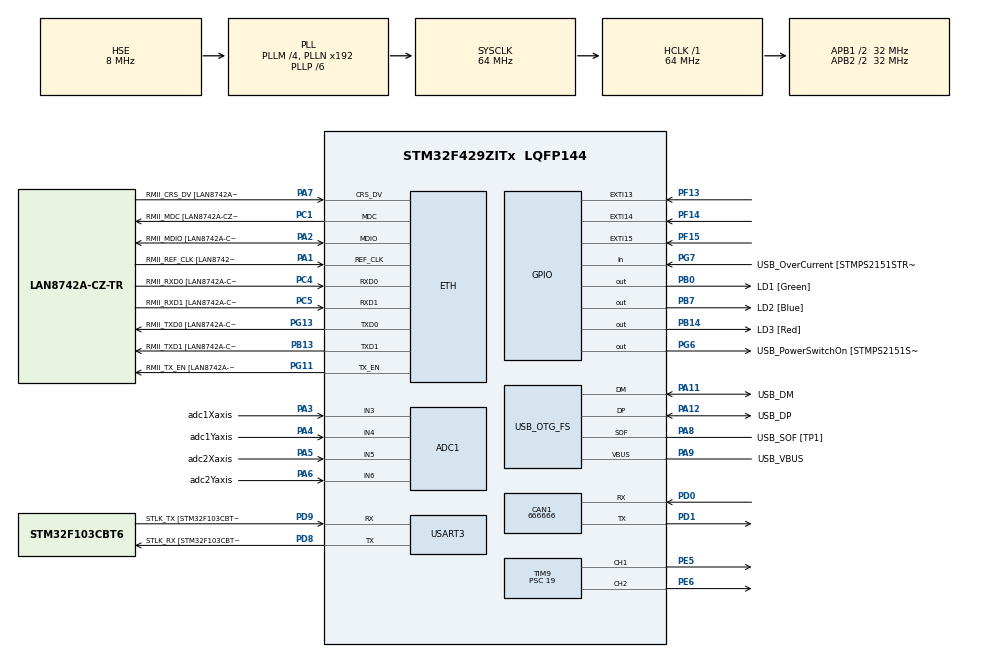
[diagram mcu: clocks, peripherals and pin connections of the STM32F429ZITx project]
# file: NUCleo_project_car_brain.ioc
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ADC1.Channel-0\#ChannelRegularConversion=ADC_CHANNEL_3
ADC1.NbrOfConversionFlag=1
ADC1.Rank-0\#ChannelRegularConversion=1
ADC1.SamplingTime-0\#ChannelRegularConversion=ADC_SAMPLETIME_3CYCLES
ADC1.master=1
CAN1.CalculateBaudRate=666666
CAN1.CalculateTimeBit=1500
CAN1.CalculateTimeQuantum=500.0
Dma.ADC1.0.Direction=DMA_PERIPH_TO_MEMORY
Dma.ADC1.0.FIFOMode=DMA_FIFOMODE_DISABLE
Dma.ADC1.0.Instance=DMA2_Stream0
Dma.ADC1.0.MemDataAlignment=DMA_MDATAALIGN_HALFWORD
Dma.ADC1.0.MemInc=DMA_MINC_ENABLE
Dma.ADC1.0.Mode=DMA_CIRCULAR
Dma.ADC1.0.PeriphDataAlignment=DMA_PDATAALIGN_HALFWORD
Dma.ADC1.0.PeriphInc=DMA_PINC_DISABLE
Dma.ADC1.0.Priority=DMA_PRIORITY_MEDIUM
Dma.Request0=ADC1
ETH.MediaInterface=HAL_ETH_RMII_MODE
ETH.PHY_Name=LAN8742A_PHY_ADDRESS
ETH.PHY_Value=0
ETH.PhyAddress=0
FREERTOS.Tasks01=Task01,24,128,StartTask01,Default,NULL,Dynamic,NULL,NULL;Task02,8,128,StartTask02,Default,NULL,Dynamic,NULL,NULL;Task03,40,128,StartTask03,Default,NULL,Dynamic,NULL,NULL
Mcu.Family=STM32F4
Mcu.Name=STM32F429ZITx
Mcu.Package=LQFP144
NVIC.DMA2_Stream0_IRQn=true\:5\:0\:false\:false\:true\:true\:false\:true\:true
NVIC.PriorityGroup=NVIC_PRIORITYGROUP_4
NVIC.TIM7_IRQn=true\:15\:0\:false\:false\:true\:false\:false\:true\:true
NVIC.TimeBase=TIM7_IRQn
NVIC.TimeBaseIP=TIM7
PA1.GPIO_Label=RMII_REF_CLK [LAN8742A-CZ-TR_REFCLK0]
PA1.Mode=RMII
PA1.Signal=ETH_REF_CLK
PA10.GPIO_Label=USB_ID
PA10.Signal=USB_OTG_FS_ID
PA11.GPIO_Label=USB_DM
PA11.Mode=Device_Only
PA11.Signal=USB_OTG_FS_DM
PA12.GPIO_Label=USB_DP
PA12.Mode=Device_Only
PA12.Signal=USB_OTG_FS_DP
PA13.GPIO_Label=TMS
PA13.Mode=Serial_Wire
PA13.Signal=SYS_JTMS-SWDIO
PA14.GPIO_Label=TCK
PA14.Mode=Serial_Wire
PA14.Signal=SYS_JTCK-SWCLK
PA2.GPIO_Label=RMII_MDIO [LAN8742A-CZ-TR_MDIO]
PA2.Mode=RMII
PA2.Signal=ETH_MDIO
PA3.GPIO_Label=adc1Xaxis
PA3.GPIO_PuPd=GPIO_NOPULL
PA3.Signal=ADCx_IN3
PA4.GPIO_Label=adc1Yaxis
PA4.Signal=ADCx_IN4
PA5.GPIO_Label=adc2Xaxis
PA5.Signal=ADCx_IN5
PA6.GPIO_Label=adc2Yaxis
PA6.Signal=ADCx_IN6
PA7.GPIO_Label=RMII_CRS_DV [LAN8742A-CZ-TR_CRS_DV]
PA7.Mode=RMII
PA7.Signal=ETH_CRS_DV
PA8.GPIO_Label=USB_SOF [TP1]
PA8.Mode=Activate_SOF_FS
PA8.Signal=USB_OTG_FS_SOF
PA9.GPIO_Label=USB_VBUS
PA9.Mode=Activate_VBUS
PA9.Signal=USB_OTG_FS_VBUS
PB0.GPIO_Label=LD1 [Green]
PB0.Signal=GPIO_Output
PB13.GPIO_Label=RMII_TXD1 [LAN8742A-CZ-TR_TXD1]
PB13.Mode=RMII
PB13.Signal=ETH_TXD1
PB14.GPIO_Label=LD3 [Red]
PB14.Signal=GPIO_Output
PB7.GPIO_Label=LD2 [Blue]
PB7.Signal=GPIO_Output
PC1.GPIO_Label=RMII_MDC [LAN8742A-CZ-TR_MDC]
PC1.Mode=RMII
PC1.Signal=ETH_MDC
PC14/OSC32_IN.Mode=LSE-External-Oscillator
PC14/OSC32_IN.Signal=RCC_OSC32_IN
PC15/OSC32_OUT.Mode=LSE-External-Oscillator
PC15/OSC32_OUT.Signal=RCC_OSC32_OUT
PC4.GPIO_Label=RMII_RXD0 [LAN8742A-CZ-TR_RXD0]
PC4.Mode=RMII
PC4.Signal=ETH_RXD0
PC5.GPIO_Label=RMII_RXD1 [LAN8742A-CZ-TR_RXD1]
PC5.Mode=RMII
PC5.Signal=ETH_RXD1
PD0.Mode=CAN_Activate
PD0.Signal=CAN1_RX
PD1.Mode=CAN_Activate
PD1.Signal=CAN1_TX
PD8.GPIO_Label=STLK_RX [STM32F103CBT6_PA3]
PD8.Mode=Asynchronous
PD8.Signal=USART3_TX
PD9.GPIO_Label=STLK_TX [STM32F103CBT6_PA2]
PD9.Mode=Asynchronous
PD9.Signal=USART3_RX
PE5.Signal=S_TIM9_CH1
PE6.Signal=S_TIM9_CH2
PF13.GPIO_PuPd=GPIO_PULLDOWN
PF13.Signal=GPXTI13
PF14.GPIO_PuPd=GPIO_PULLDOWN
PF14.Signal=GPXTI14
PF15.GPIO_PuPd=GPIO_PULLDOWN
PF15.Signal=GPXTI15
PG11.GPIO_Label=RMII_TX_EN [LAN8742A-CZ-TR_TXEN]
PG11.Mode=RMII
PG11.Signal=ETH_TX_EN
PG13.GPIO_Label=RMII_TXD0 [LAN8742A-CZ-TR_TXD0]
PG13.Mode=RMII
PG13.Signal=ETH_TXD0
PG6.GPIO_Label=USB_PowerSwitchOn [STMPS2151STR_EN]
PG6.Signal=GPIO_Output
PG7.GPIO_Label=USB_OverCurrent [STMPS2151STR_FAULT]
PG7.Signal=GPIO_Input
PH0/OSC_IN.GPIO_Label=MCO [STM32F103CBT6_PA8]
PH0/OSC_IN.Mode=HSE-External-Clock-Source
PH0/OSC_IN.Signal=RCC_OSC_IN
PH1/OSC_OUT.Mode=HSE-External-Clock-Source
PH1/OSC_OUT.Signal=RCC_OSC_OUT
ProjectManager.HeapSize=0x200
ProjectManager.StackSize=0x400
ProjectManager.TargetToolchain=STM32CubeIDE
RCC.48MHZClocksFreq_Value=48000000
RCC.AHBFreq_Value=64000000
RCC.APB1CLKDivider=RCC_HCLK_DIV2
RCC.APB1Freq_Value=32000000
RCC.APB1TimFreq_Value=64000000
RCC.APB2CLKDivider=RCC_HCLK_DIV2
RCC.APB2Freq_Value=32000000
RCC.APB2TimFreq_Value=64000000
RCC.CortexFreq_Value=64000000
RCC.HCLKFreq_Value=64000000
RCC.HSE_VALUE=8000000
RCC.HSI_VALUE=16000000
RCC.LSE_VALUE=32.77
RCC.PLLM=4
RCC.PLLMUL=RCC_PLL_MUL9
RCC.PLLP=RCC_PLLP_DIV6
RCC.PLLQ=8
RCC.PRESCALERUSB=RCC_USBCLKSOURCE_PLL_DIV1_5
RCC.SYSCLKFreq_VALUE=64000000
RCC.SYSCLKSource=RCC_SYSCLKSOURCE_PLLCLK
RCC.SYSCLKSourceVirtual=RCC_SYSCLKSOURCE_PLLCLK
RCC.USBFreq_Value=48000000
RCC.VCOOutputFreq_Value=384000000
SH.ADCx_IN3.0=ADC1_IN3,IN3
SH.ADCx_IN4.0=ADC1_IN4,IN4
SH.ADCx_IN5.0=ADC1_IN5,IN5
SH.ADCx_IN6.0=ADC1_IN6,IN6
SH.S_TIM9_CH1.0=TIM9_CH1,PWM Generation1 CH1
SH.S_TIM9_CH2.0=TIM9_CH2,PWM Generation2 CH2
TIM9.Channel-PWM\ Generation1\ CH1=TIM_CHANNEL_1
TIM9.Channel-PWM\ Generation2\ CH2=TIM_CHANNEL_2
TIM9.Period=63999
TIM9.Prescaler=19
USART3.VirtualMode=VM_ASYNC
USB_OTG_FS.VirtualMode=Device_Only
VP_FREERTOS_VS_CMSIS_V2.Mode=CMSIS_V2
VP_SYS_VS_tim7.Mode=TIM7
board=NUCLEO-F429ZI

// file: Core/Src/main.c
/* USER CODE BEGIN Header */
/**
  ******************************************************************************
  * @file           : main.c
  * @brief          : Main program body
  ******************************************************************************
  * @attention
  *
  * Copyright (c) 2024 STMicroelectronics.
  * All rights reserved.
  *
  * This software is licensed under terms that can be found in the LICENSE file
  * in the root directory of this software component.
  * If no LICENSE file comes with this software, it is provided AS-IS.
  *
  ******************************************************************************
  */
/* USER CODE END Header */
#include "main.h"
#include "string.h"
#include "cmsis_os.h"

ETH_TxPacketConfig TxConfig;
ETH_DMADescTypeDef  DMARxDscrTab[ETH_RX_DESC_CNT]; /* Ethernet Rx DMA Descriptors */
ETH_DMADescTypeDef  DMATxDscrTab[ETH_TX_DESC_CNT]; /* Ethernet Tx DMA Descriptors */

ADC_HandleTypeDef hadc1;
DMA_HandleTypeDef hdma_adc1;

CAN_HandleTypeDef hcan1;

ETH_HandleTypeDef heth;

TIM_HandleTypeDef htim9;

UART_HandleTypeDef huart3;

PCD_HandleTypeDef hpcd_USB_OTG_FS;

/* Definitions for Task01 */
osThreadId_t Task01Handle;
const osThreadAttr_t Task01_attributes = {
  .name = "Task01",
  .stack_size = 128 * 4,
  .priority = (osPriority_t) osPriorityNormal,
};
/* Definitions for Task02 */
osThreadId_t Task02Handle;
const osThreadAttr_t Task02_attributes = {
  .name = "Task02",
  .stack_size = 128 * 4,
  .priority = (osPriority_t) osPriorityLow,
};
/* Definitions for Task03 */
osThreadId_t Task03Handle;
const osThreadAttr_t Task03_attributes = {
  .name = "Task03",
  .stack_size = 128 * 4,
  .priority = (osPriority_t) osPriorityHigh,
};

void SystemClock_Config(void);
static void MX_GPIO_Init(void);
static void MX_DMA_Init(void);
static void MX_ETH_Init(void);
static void MX_USART3_UART_Init(void);
static void MX_USB_OTG_FS_PCD_Init(void);
static void MX_ADC1_Init(void);
static void MX_CAN1_Init(void);
static void MX_TIM9_Init(void);
void StartTask01(void *argument);
void StartTask02(void *argument);
void StartTask03(void *argument);

int main(void)
{

  /* MCU Configuration--------------------------------------------------------*/

  /* Reset of all peripherals, Initializes the Flash interface and the Systick. */
  HAL_Init();

  /* Configure the system clock */
  SystemClock_Config();

  /* Initialize all configured peripherals */
  MX_GPIO_Init();
  MX_DMA_Init();
  MX_ETH_Init();
  MX_USART3_UART_Init();
  MX_USB_OTG_FS_PCD_Init();
  MX_ADC1_Init();
  MX_CAN1_Init();
  MX_TIM9_Init();
  /* USER CODE BEGIN 2 */
  HAL_TIM_PWM_Start(&htim9, TIM_CHANNEL_1);
  HAL_TIM_PWM_Start(&htim9, TIM_CHANNEL_2);

  /* USER CODE END 2 */

  /* Init scheduler */
  osKernelInitialize();

  /* Create the thread(s) */
  /* creation of Task01 */
  Task01Handle = osThreadNew(StartTask01, NULL, &Task01_attributes);

  /* creation of Task02 */
  Task02Handle = osThreadNew(StartTask02, NULL, &Task02_attributes);

  /* creation of Task03 */
  Task03Handle = osThreadNew(StartTask03, NULL, &Task03_attributes);

  /* Start scheduler */
  osKernelStart();
  /* We should never get here as control is now taken by the scheduler */
  /* Infinite loop */
  while (1)
  {

  }
}

void SystemClock_Config(void)
{
  RCC_OscInitTypeDef RCC_OscInitStruct = {0};
  RCC_ClkInitTypeDef RCC_ClkInitStruct = {0};

  /** Configure the main internal regulator output voltage
  */
  __HAL_RCC_PWR_CLK_ENABLE();
  __HAL_PWR_VOLTAGESCALING_CONFIG(PWR_REGULATOR_VOLTAGE_SCALE3);

  /** Initializes the RCC Oscillators according to the specified parameters
  * in the RCC_OscInitTypeDef structure.
  */
  RCC_OscInitStruct.OscillatorType = RCC_OSCILLATORTYPE_HSE;
  RCC_OscInitStruct.HSEState = RCC_HSE_BYPASS;
  RCC_OscInitStruct.PLL.PLLState = RCC_PLL_ON;
  RCC_OscInitStruct.PLL.PLLSource = RCC_PLLSOURCE_HSE;
  RCC_OscInitStruct.PLL.PLLM = 4;
  RCC_OscInitStruct.PLL.PLLN = 192;
  RCC_OscInitStruct.PLL.PLLP = RCC_PLLP_DIV6;
  RCC_OscInitStruct.PLL.PLLQ = 8;
  if (HAL_RCC_OscConfig(&RCC_OscInitStruct) != HAL_OK)
  {
    Error_Handler();
  }

  /** Initializes the CPU, AHB and APB buses clocks
  */
  RCC_ClkInitStruct.ClockType = RCC_CLOCKTYPE_HCLK|RCC_CLOCKTYPE_SYSCLK
                              |RCC_CLOCKTYPE_PCLK1|RCC_CLOCKTYPE_PCLK2;
  RCC_ClkInitStruct.SYSCLKSource = RCC_SYSCLKSOURCE_PLLCLK;
  RCC_ClkInitStruct.AHBCLKDivider = RCC_SYSCLK_DIV1;
  RCC_ClkInitStruct.APB1CLKDivider = RCC_HCLK_DIV2;
  RCC_ClkInitStruct.APB2CLKDivider = RCC_HCLK_DIV2;

  if (HAL_RCC_ClockConfig(&RCC_ClkInitStruct, FLASH_LATENCY_2) != HAL_OK)
  {
    Error_Handler();
  }
}

static void MX_ADC1_Init(void)
{

  ADC_ChannelConfTypeDef sConfig = {0};

  /** Configure the global features of the ADC (Clock, Resolution, Data Alignment and number of conversion)
  */
  hadc1.Instance = ADC1;
  hadc1.Init.ClockPrescaler = ADC_CLOCK_SYNC_PCLK_DIV2;
  hadc1.Init.Resolution = ADC_RESOLUTION_12B;
  hadc1.Init.ScanConvMode = DISABLE;
  hadc1.Init.ContinuousConvMode = DISABLE;
  hadc1.Init.DiscontinuousConvMode = DISABLE;
  hadc1.Init.ExternalTrigConvEdge = ADC_EXTERNALTRIGCONVEDGE_NONE;
  hadc1.Init.ExternalTrigConv = ADC_SOFTWARE_START;
  hadc1.Init.DataAlign = ADC_DATAALIGN_RIGHT;
  hadc1.Init.NbrOfConversion = 1;
  hadc1.Init.DMAContinuousRequests = DISABLE;
  hadc1.Init.EOCSelection = ADC_EOC_SINGLE_CONV;
  if (HAL_ADC_Init(&hadc1) != HAL_OK)
  {
    Error_Handler();
  }

  /** Configure for the selected ADC regular channel its corresponding rank in the sequencer and its sample time.
  */
  sConfig.Channel = ADC_CHANNEL_3;
  sConfig.Rank = 1;
  sConfig.SamplingTime = ADC_SAMPLETIME_3CYCLES;
  if (HAL_ADC_ConfigChannel(&hadc1, &sConfig) != HAL_OK)
  {
    Error_Handler();
  }

}

static void MX_CAN1_Init(void)
{

  hcan1.Instance = CAN1;
  hcan1.Init.Prescaler = 16;
  hcan1.Init.Mode = CAN_MODE_NORMAL;
  hcan1.Init.SyncJumpWidth = CAN_SJW_1TQ;
  hcan1.Init.TimeSeg1 = CAN_BS1_1TQ;
  hcan1.Init.TimeSeg2 = CAN_BS2_1TQ;
  hcan1.Init.TimeTriggeredMode = DISABLE;
  hcan1.Init.AutoBusOff = DISABLE;
  hcan1.Init.AutoWakeUp = DISABLE;
  hcan1.Init.AutoRetransmission = DISABLE;
  hcan1.Init.ReceiveFifoLocked = DISABLE;
  hcan1.Init.TransmitFifoPriority = DISABLE;
  if (HAL_CAN_Init(&hcan1) != HAL_OK)
  {
    Error_Handler();
  }

}

static void MX_ETH_Init(void)
{

   static uint8_t MACAddr[6];

  heth.Instance = ETH;
  MACAddr[0] = 0x00;
  MACAddr[1] = 0x80;
  MACAddr[2] = 0xE1;
  MACAddr[3] = 0x00;
  MACAddr[4] = 0x00;
  MACAddr[5] = 0x00;
  heth.Init.MACAddr = &MACAddr[0];
  heth.Init.MediaInterface = HAL_ETH_RMII_MODE;
  heth.Init.TxDesc = DMATxDscrTab;
  heth.Init.RxDesc = DMARxDscrTab;
  heth.Init.RxBuffLen = 1524;

  if (HAL_ETH_Init(&heth) != HAL_OK)
  {
    Error_Handler();
  }

  memset(&TxConfig, 0 , sizeof(ETH_TxPacketConfig));
  TxConfig.Attributes = ETH_TX_PACKETS_FEATURES_CSUM | ETH_TX_PACKETS_FEATURES_CRCPAD;
  TxConfig.ChecksumCtrl = ETH_CHECKSUM_IPHDR_PAYLOAD_INSERT_PHDR_CALC;
  TxConfig.CRCPadCtrl = ETH_CRC_PAD_INSERT;

}

static void MX_TIM9_Init(void)
{

  TIM_OC_InitTypeDef sConfigOC = {0};

  htim9.Instance = TIM9;
  htim9.Init.Prescaler = 19;
  htim9.Init.CounterMode = TIM_COUNTERMODE_UP;
  htim9.Init.Period = 63999;
  htim9.Init.ClockDivision = TIM_CLOCKDIVISION_DIV1;
  htim9.Init.AutoReloadPreload = TIM_AUTORELOAD_PRELOAD_DISABLE;
  if (HAL_TIM_PWM_Init(&htim9) != HAL_OK)
  {
    Error_Handler();
  }
  sConfigOC.OCMode = TIM_OCMODE_PWM1;
  sConfigOC.Pulse = 0;
  sConfigOC.OCPolarity = TIM_OCPOLARITY_HIGH;
  sConfigOC.OCFastMode = TIM_OCFAST_DISABLE;
  if (HAL_TIM_PWM_ConfigChannel(&htim9, &sConfigOC, TIM_CHANNEL_1) != HAL_OK)
  {
    Error_Handler();
  }
  if (HAL_TIM_PWM_ConfigChannel(&htim9, &sConfigOC, TIM_CHANNEL_2) != HAL_OK)
  {
    Error_Handler();
  }
  HAL_TIM_MspPostInit(&htim9);

}

static void MX_USART3_UART_Init(void)
{

  huart3.Instance = USART3;
  huart3.Init.BaudRate = 115200;
  huart3.Init.WordLength = UART_WORDLENGTH_8B;
  huart3.Init.StopBits = UART_STOPBITS_1;
  huart3.Init.Parity = UART_PARITY_NONE;
  huart3.Init.Mode = UART_MODE_TX_RX;
  huart3.Init.HwFlowCtl = UART_HWCONTROL_NONE;
  huart3.Init.OverSampling = UART_OVERSAMPLING_16;
  if (HAL_UART_Init(&huart3) != HAL_OK)
  {
    Error_Handler();
  }

}

static void MX_USB_OTG_FS_PCD_Init(void)
{

  hpcd_USB_OTG_FS.Instance = USB_OTG_FS;
  hpcd_USB_OTG_FS.Init.dev_endpoints = 4;
  hpcd_USB_OTG_FS.Init.speed = PCD_SPEED_FULL;
  hpcd_USB_OTG_FS.Init.dma_enable = DISABLE;
  hpcd_USB_OTG_FS.Init.phy_itface = PCD_PHY_EMBEDDED;
  hpcd_USB_OTG_FS.Init.Sof_enable = ENABLE;
  hpcd_USB_OTG_FS.Init.low_power_enable = DISABLE;
  hpcd_USB_OTG_FS.Init.lpm_enable = DISABLE;
  hpcd_USB_OTG_FS.Init.vbus_sensing_enable = ENABLE;
  hpcd_USB_OTG_FS.Init.use_dedicated_ep1 = DISABLE;
  if (HAL_PCD_Init(&hpcd_USB_OTG_FS) != HAL_OK)
  {
    Error_Handler();
  }

}

static void MX_DMA_Init(void)
{

  /* DMA controller clock enable */
  __HAL_RCC_DMA2_CLK_ENABLE();

  /* DMA interrupt init */
  /* DMA2_Stream0_IRQn interrupt configuration */
  HAL_NVIC_SetPriority(DMA2_Stream0_IRQn, 5, 0);
  HAL_NVIC_EnableIRQ(DMA2_Stream0_IRQn);

}

static void MX_GPIO_Init(void)
{
  GPIO_InitTypeDef GPIO_InitStruct = {0};

  /* GPIO Ports Clock Enable */
  __HAL_RCC_GPIOE_CLK_ENABLE();
  __HAL_RCC_GPIOC_CLK_ENABLE();
  __HAL_RCC_GPIOH_CLK_ENABLE();
  __HAL_RCC_GPIOA_CLK_ENABLE();
  __HAL_RCC_GPIOB_CLK_ENABLE();
  __HAL_RCC_GPIOF_CLK_ENABLE();
  __HAL_RCC_GPIOD_CLK_ENABLE();
  __HAL_RCC_GPIOG_CLK_ENABLE();

  /*Configure GPIO pin Output Level */
  HAL_GPIO_WritePin(GPIOB, LD1_Pin|LD3_Pin|LD2_Pin, GPIO_PIN_RESET);

  /*Configure GPIO pin Output Level */
  HAL_GPIO_WritePin(USB_PowerSwitchOn_GPIO_Port, USB_PowerSwitchOn_Pin, GPIO_PIN_RESET);

  /*Configure GPIO pins : LD1_Pin LD3_Pin LD2_Pin */
  GPIO_InitStruct.Pin = LD1_Pin|LD3_Pin|LD2_Pin;
  GPIO_InitStruct.Mode = GPIO_MODE_OUTPUT_PP;
  GPIO_InitStruct.Pull = GPIO_NOPULL;
  GPIO_InitStruct.Speed = GPIO_SPEED_FREQ_LOW;
  HAL_GPIO_Init(GPIOB, &GPIO_InitStruct);

  /*Configure GPIO pins : PF13 PF14 PF15 */
  GPIO_InitStruct.Pin = GPIO_PIN_13|GPIO_PIN_14|GPIO_PIN_15;
  GPIO_InitStruct.Mode = GPIO_MODE_IT_RISING;
  GPIO_InitStruct.Pull = GPIO_PULLDOWN;
  HAL_GPIO_Init(GPIOF, &GPIO_InitStruct);

  /*Configure GPIO pin : USB_PowerSwitchOn_Pin */
  GPIO_InitStruct.Pin = USB_PowerSwitchOn_Pin;
  GPIO_InitStruct.Mode = GPIO_MODE_OUTPUT_PP;
  GPIO_InitStruct.Pull = GPIO_NOPULL;
  GPIO_InitStruct.Speed = GPIO_SPEED_FREQ_LOW;
  HAL_GPIO_Init(USB_PowerSwitchOn_GPIO_Port, &GPIO_InitStruct);

  /*Configure GPIO pin : USB_OverCurrent_Pin */
  GPIO_InitStruct.Pin = USB_OverCurrent_Pin;
  GPIO_InitStruct.Mode = GPIO_MODE_INPUT;
  GPIO_InitStruct.Pull = GPIO_NOPULL;
  HAL_GPIO_Init(USB_OverCurrent_GPIO_Port, &GPIO_InitStruct);

}

void StartTask01(void *argument)
{
  /* USER CODE BEGIN 5 */
  /* Infinite loop */
  for(;;)
  {
	  __HAL_TIM_SET_COMPARE(&htim9 , TIM_CHANNEL_1,63999);
	osDelay(150);
  }
  /* USER CODE END 5 */
}

void StartTask02(void *argument)
{
  /* USER CODE BEGIN StartTask02 */
  /* Infinite loop */
int chanel1increment  = 640 ;
  for(;;)
  {

	  if(chanel1increment < 8000){
		  __HAL_TIM_SET_COMPARE(&htim9 , TIM_CHANNEL_1,chanel1increment);
		  chanel1increment = chanel1increment+80;
	  }
	  else
		  chanel1increment = 640;

    osDelay(50);
  }
  /* USER CODE END StartTask02 */
}

void StartTask03(void *argument)
{
  /* USER CODE BEGIN StartTask03 */
  /* Infinite loop */
  for(;;)
  {
	 if(HAL_GPIO_ReadPin(GPIOC, GPIO_PIN_13)){
		 //burda increment yapıp ledlerin parlaklığını ayarlayabiliriz
		 //bunun içinde tesklar arası data aktarımını (mail) öğrenmen lazım
	  HAL_GPIO_WritePin(GPIOB, GPIO_PIN_7, GPIO_PIN_SET);
    osDelay(120);
	  HAL_GPIO_WritePin(GPIOB, GPIO_PIN_7, GPIO_PIN_RESET);
	osDelay(120);
	 }
	 osDelay(50);
  }
  /* USER CODE END StartTask03 */
}

void HAL_TIM_PeriodElapsedCallback(TIM_HandleTypeDef *htim)
{
  if (htim->Instance == TIM7) {
    HAL_IncTick();
  }
}

void Error_Handler(void)
{
  __disable_irq();
  while (1)
  {
  }
}
